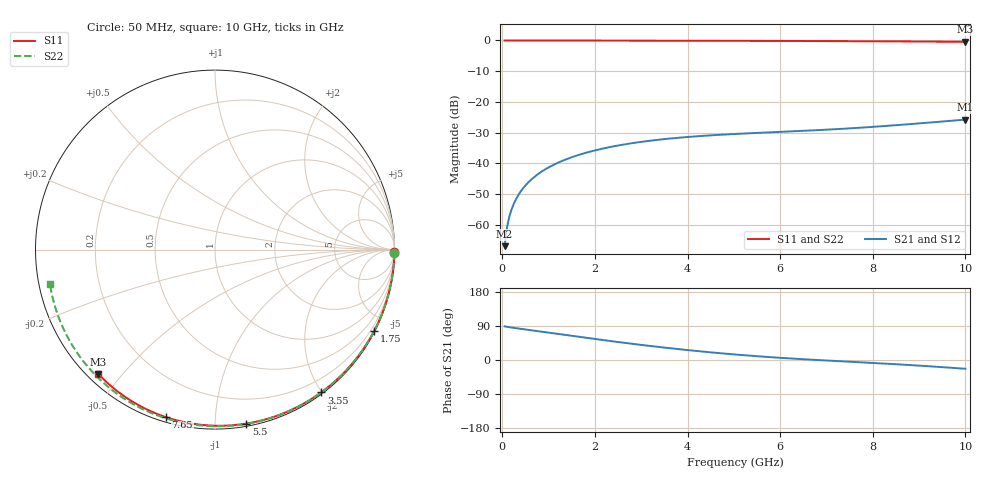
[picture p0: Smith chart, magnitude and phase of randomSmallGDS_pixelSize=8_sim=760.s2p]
! freq	dB(S11)	phase(S11)	dB(S12)	phase(S12)
!  dB(S21)	phase(S21)	dB(S22)	phase(S22)
!S-par simulation data
#  GHz  S  DB  R 50
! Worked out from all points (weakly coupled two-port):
!   200 points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, 50 MHz to 10 GHz, reference 50 ohm
!   highest |S21| = -25.76 dB at 10 GHz (marker M1); lowest = -67.0 dB at 50 MHz (marker M2)
!   lowest |S11| = -0.4 dB at 10 GHz (marker M3), VSWR 38.88, Z = 1.53 - j21.7 ohm
!   |S11| at or under -10 dB: nowhere
!   |S22| runs from -0.5 to 0.0 dB; largest |S21 - S12| = 0
!   S11 on the Smith chart (normalised r, x): 50 MHz: open; 1.75 GHz: 0.04, -4.17; 3.55 GHz: 0.02, -1.99; 5.5 GHz: 0.02, -1.20; 7.65 GHz: 0.02, -0.75; 10 GHz: 0.03, -0.43
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0.05  -0.00 -0.8  -66.95 88.8  -66.95 88.8  -0.00 -1.0
0.1  -0.00 -1.6  -60.96 87.6  -60.96 87.6  -0.00 -2.0
0.15  -0.00 -2.4  -57.48 86.6  -57.48 86.6  -0.00 -3.0
0.2  -0.00 -3.1  -55.02 85.7  -55.02 85.7  -0.00 -4.0
0.25  -0.00 -3.9  -53.11 84.8  -53.11 84.8  -0.00 -5.0
0.35  -0.00 -5.5  -50.23 83.1  -50.23 83.1  -0.01 -7.0
0.5  -0.01 -7.8  -47.19 80.6  -47.19 80.6  -0.01 -10.0
0.7  -0.01 -10.9  -44.32 77.2  -44.32 77.2  -0.02 -14.0
1  -0.02 -15.5  -41.32 72.1  -41.32 72.1  -0.02 -19.9
1.35  -0.03 -20.9  -38.85 66.1  -38.85 66.1  -0.03 -26.8
1.75  -0.04 -27.0  -36.80 59.4  -36.80 59.4  -0.04 -34.5
2.6  -0.05 -39.6  -33.92 45.8  -33.92 45.8  -0.07 -50.5
3.4  -0.07 -51.2  -32.26 34.1  -32.26 34.1  -0.09 -65.1
3.55  -0.07 -53.4  -32.02 32.1  -32.02 32.1  -0.09 -67.7
4.3  -0.09 -63.8  -31.08 22.5  -31.08 22.5  -0.12 -80.7
5.05  -0.12 -73.9  -30.41 14.3  -30.41 14.3  -0.14 -93.1
5.5  -0.13 -79.8  -30.09 10.0  -30.09 10.0  -0.16 -100.4
6.7  -0.18 -94.9  -29.27 0.6  -29.27 0.6  -0.23 -119.0
7.65  -0.24 -106.3  -28.48 -5.5  -28.48 -5.5  -0.30 -133.2
8.35  -0.29 -114.5  -27.75 -10.1  -27.75 -10.1  -0.36 -143.6
9.2  -0.36 -124.1  -26.75 -16.4  -26.75 -16.4  -0.45 -156.2
10  -0.45 -133.1  -25.76 -23.1  -25.76 -23.1  -0.54 -168.3
